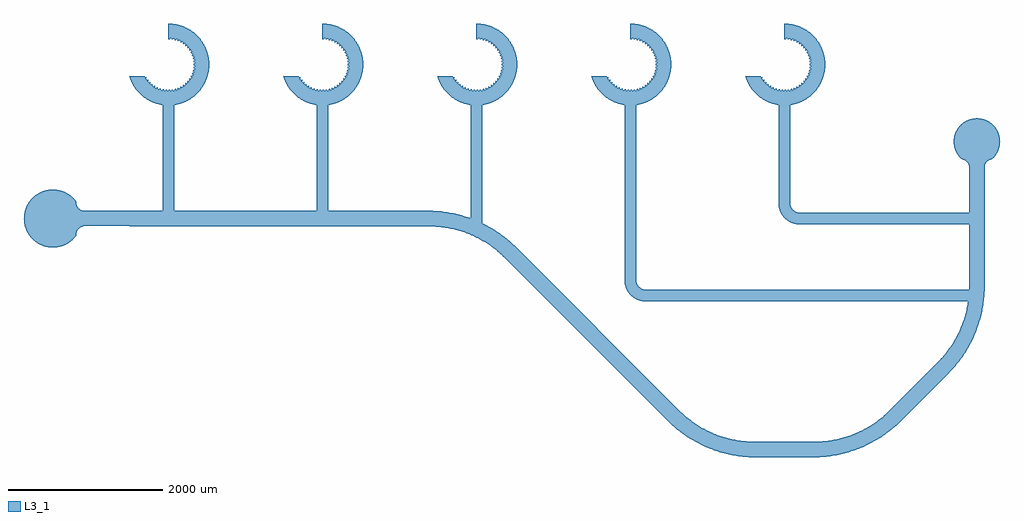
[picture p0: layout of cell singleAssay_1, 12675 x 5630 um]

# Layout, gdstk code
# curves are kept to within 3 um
from math import pi, radians
import gdstk
lib = gdstk.Library(unit=1e-6, precision=5e-09)
def R(c, l, rs):  # rectangles x0, y0, x1, y1
    for r in rs: c.add(gdstk.rectangle(r[:2], r[2:], *l))
def P(c, l, *ps):  # polygons
    for p in ps: c.add(gdstk.Polygon(p, *l))
L3_1 = (3, 1)

trace_1 = lib.new_cell('TRACE_1')
P(trace_1, L3_1, [(-11000,-1900),(-7094.005,-1900.23),(-6957.695,-1908.385),(-6822.585,-1928.13),(-6689.645,-1959.33),(-6559.85,-2001.745),(-6434.145,-2055.075),(-6289.985,-2132.925),(-6154.54,-2225.11),(-6029.235,-2330.66),(-3868.93,-4489.65),(-3762.2,-4585.995),(-3686.03,-4643.755),(-3606.095,-4696.185),(-3501.455,-4753.85),(-3414.435,-4793.43),(-3324.92,-4826.975),(-3233.325,-4854.335),(-3116.555,-4879.64),(-3021.85,-4892.655),(-2878.255,-4900),(-2097.42,-4899.79),(-1954.395,-4890.01),(-1836.485,-4870.715),(-1743.605,-4848.08),(-1630.035,-4810.965),(-1541.72,-4774.385),(-1456.1,-4731.86),(-1373.59,-4683.59),(-1275.39,-4615.525),(-1201.24,-4555.195),(-1131.07,-4489.65),(-444.805,-3798.76),(-370.195,-3705.44),(-303.815,-3606.095),(-246.15,-3501.455),(-206.57,-3414.435),(-165.6,-3302.2),(-139.81,-3210.15),(-116.5,-3092.965),(-103.265,-2974.22),(-100,-2000),(100,-2000),(100,-2879.105),(91.615,-3042.305),(76.74,-3150.535),(54.51,-3257.505),(25.035,-3362.705),(-11.55,-3465.65),(-55.075,-3565.855),(-105.34,-3662.86),(-208.79,-3823.555),(-276.28,-3909.465),(-349.475,-3990.57),(-1009.43,-4650.525),(-1111.575,-4741.14),(-1243.795,-4837.895),(-1409.575,-4932.98),(-1559.85,-4998.255),(-1742.495,-5054.51),(-1903.455,-5085.1),(-2012.13,-5096.275),(-2120.895,-5100),(-2905.995,-5099.77),(-3042.305,-5091.615),(-3150.535,-5076.74),(-3257.505,-5054.51),(-3388.67,-5016.55),(-3490.975,-4978.21),(-3590.425,-4932.98),(-3686.555,-4881.07),(-3801.37,-4807.155),(-3888.425,-4741.14),(-4009.75,-4631.675),(-6165.75,-2476.83),(-6275.39,-2384.475),(-6373.59,-2316.41),(-6498.545,-2246.15),(-6607.725,-2197.615),(-6720.645,-2158.565),(-6836.485,-2129.285),(-6954.395,-2109.99),(-7097.42,-2100.21),(-11000,-2100)])

fluidvactrapf_1 = lib.new_cell('FluidVacTrapF_1')
fluidvactrapf_1.add(gdstk.Reference(trace_1, (0,0)))

structure_1 = lib.new_cell('STRUCTURE_1')
P(structure_1, L3_1, [(306.335,-216.275),(246.02,-283.015),(176.05,-331.105),(97.055,-362.22),(13.085,-374.77),(-71.555,-368.11),(-152.525,-342.58),(-225.68,-299.49),(-287.265,-241.045),(-337.05,-164.39),(-365.39,-84.355),(-375,0),(-365.39,84.355),(-337.05,164.39),(-291.43,235.995),(-230.875,295.505),(-158.48,339.865),(-84.355,365.39),(-6.545,374.945),(71.555,368.11),(152.525,342.58),(215.09,307.18),(269.75,260.495),(306.335,216.275),(307.565,177.505),(324.1,141.22),(350.535,116.135),(384.21,102.185),(1000,100),(1000,-100),(389.355,-101.23),(352.01,-115.195),(324.1,-141.22),(307.565,-177.505)])

inlethole_1 = lib.new_cell('INLETHOLE_1')
inlethole_1.add(gdstk.Reference(structure_1, (0,0)))

structure_2 = lib.new_cell('STRUCTURE_2')
P(structure_2, L3_1, [(330,0),(530,0),(524.84,-73.76),(509.47,-146.09),(484.18,-215.57),(449.465,-280.855),(411.885,-333.54),(368.17,-381.25),(311.525,-428.78),(256.95,-463.55),(198.54,-491.405),(137.175,-511.94),(64.59,-526.05),(0,-530),(0,-330),(16.29,-329.59),(17.4,-342.285),(42.305,-340.105),(41.195,-327.41),(55.17,-325.345),(57.775,-337.825),(82.245,-332.715),(79.64,-320.245),(93.275,-316.53),(97.34,-328.615),(121.035,-320.645),(116.97,-308.565),(130.07,-303.275),(135.535,-314.79),(158.12,-304.075),(152.655,-292.555),(165.045,-285.765),(171.825,-296.545),(192.985,-283.23),(186.195,-272.44),(197.69,-264.225),(205.705,-274.13),(225.14,-258.405),(217.125,-248.5),(227.56,-238.975),(236.695,-247.87),(254.135,-229.955),(245.005,-221.07),(254.235,-210.37),(264.36,-218.12),(279.555,-198.27),(269.435,-190.525),(277.345,-178.815),(288.31,-185.31),(301.05,-163.805),(290.08,-157.305),(296.56,-144.75),(308.21,-149.9),(318.315,-127.035),(306.655,-121.88),(311.595,-108.645),(323.78,-112.38),(331.11,-88.48),(318.93,-84.745),(322.255,-71.015),(334.8,-73.285),(339.255,-48.685),(326.715,-46.415),(328.395,-32.385),(341.12,-33.155),(342.63,-8.2),(329.905,-7.435)],
  [(-508.31,150),(-472.235,240.615),(-423.275,318.96),(-361.46,387.615),(-288.66,444.495),(-207.085,487.87),(-110.195,518.42),(-18.495,529.675),(73.76,524.84),(163.78,504.06),(256.95,463.55),(333.54,411.885),(399.995,347.71),(454.3,272.97),(494.8,189.935),(521.95,92.035),(530,0),(330,0),(329.925,6.695),(342.645,7.435),(341.195,32.395),(328.465,31.65),(326.82,45.685),(339.36,47.925),(334.965,72.535),(322.415,70.295),(319.115,84.03),(331.305,87.74),(324.03,111.655),(311.84,107.945),(306.925,121.195),(318.6,126.32),(308.545,149.21),(296.88,144.085),(290.435,156.655),(301.415,163.13),(288.72,184.665),(277.74,178.195),(269.86,189.92),(280,197.645),(264.845,217.53),(254.705,209.805),(245.5,220.52),(254.645,229.385),(237.25,247.335),(228.095,238.465),(217.68,248.01),(225.72,257.9),(206.32,273.67),(198.285,263.785),(186.805,272.02),(193.62,282.795),(172.49,296.16),(165.68,285.39),(153.31,292.215),(158.8,303.72),(136.24,314.485),(130.745,302.98),(117.66,308.305),(121.75,320.375),(98.075,328.395),(93.98,316.32),(80.36,320.06),(82.99,332.53),(58.53,337.695),(55.895,325.22),(41.925,327.315),(43.065,340.01),(18.165,342.245),(17.025,329.56),(2.905,329.975),(2.535,342.72),(-22.455,341.99),(-22.085,329.255),(-36.16,328.005),(-38.035,340.61),(-62.76,336.935),(-60.885,324.325),(-74.715,321.425),(-78.065,333.72),(-102.185,327.14),(-98.83,314.84),(-112.215,310.33),(-117,322.14),(-140.175,312.755),(-135.385,300.94),(-148.145,294.865),(-154.295,306.035),(-176.19,293.97),(-170.045,282.815),(-181.99,275.265),(-189.42,285.63),(-209.735,271.06),(-202.31,260.705),(-213.28,251.805),(-221.88,261.21),(-240.33,244.34),(-231.73,234.935),(-241.58,224.805),(-251.23,233.125),(-267.555,214.19),(-257.9,205.865),(-266.48,194.64),(-277.045,201.765),(-291.015,181.03),(-280.445,173.91),(-287.63,161.745),(-298.97,167.565),(-307.99,150)])

trace_2 = lib.new_cell('TRACE_2')
R(trace_2, L3_1, [(-75,0,75,400)])

vac_4 = lib.new_cell('vac_4')
vac_4.add(gdstk.Reference(structure_2, (0,0)))
vac_4.add(gdstk.Reference(trace_2, (0,430)))

structure_3 = lib.new_cell('STRUCTURE_3')
P(structure_3, L3_1, [(330,0),(530,0),(524.84,-73.76),(509.47,-146.09),(484.18,-215.57),(449.465,-280.855),(411.885,-333.54),(368.17,-381.25),(311.525,-428.78),(256.95,-463.55),(198.54,-491.405),(137.175,-511.94),(64.59,-526.05),(0,-530),(0,-330),(16.29,-329.59),(17.4,-342.285),(42.305,-340.105),(41.195,-327.41),(55.17,-325.345),(57.775,-337.825),(82.245,-332.715),(79.64,-320.245),(93.275,-316.53),(97.34,-328.615),(121.035,-320.645),(116.97,-308.565),(130.07,-303.275),(135.535,-314.79),(158.12,-304.075),(152.655,-292.555),(165.045,-285.765),(171.825,-296.545),(192.985,-283.23),(186.195,-272.44),(197.69,-264.225),(205.705,-274.13),(225.14,-258.405),(217.125,-248.5),(227.56,-238.975),(236.695,-247.87),(254.135,-229.955),(245.005,-221.07),(254.235,-210.37),(264.36,-218.12),(279.555,-198.27),(269.435,-190.525),(277.345,-178.815),(288.31,-185.31),(301.05,-163.805),(290.08,-157.305),(296.56,-144.75),(308.21,-149.9),(318.315,-127.035),(306.655,-121.88),(311.595,-108.645),(323.78,-112.38),(331.11,-88.48),(318.93,-84.745),(322.255,-71.015),(334.8,-73.285),(339.255,-48.685),(326.715,-46.415),(328.395,-32.385),(341.12,-33.155),(342.63,-8.2),(329.905,-7.435)],
  [(-508.31,150),(-472.235,240.615),(-423.275,318.96),(-361.46,387.615),(-288.66,444.495),(-207.085,487.87),(-110.195,518.42),(-18.495,529.675),(73.76,524.84),(163.78,504.06),(256.95,463.55),(333.54,411.885),(399.995,347.71),(454.3,272.97),(494.8,189.935),(521.95,92.035),(530,0),(330,0),(329.925,6.695),(342.645,7.435),(341.195,32.395),(328.465,31.65),(326.82,45.685),(339.36,47.925),(334.965,72.535),(322.415,70.295),(319.115,84.03),(331.305,87.74),(324.03,111.655),(311.84,107.945),(306.925,121.195),(318.6,126.32),(308.545,149.21),(296.88,144.085),(290.435,156.655),(301.415,163.13),(288.72,184.665),(277.74,178.195),(269.86,189.92),(280,197.645),(264.845,217.53),(254.705,209.805),(245.5,220.52),(254.645,229.385),(237.25,247.335),(228.095,238.465),(217.68,248.01),(225.72,257.9),(206.32,273.67),(198.285,263.785),(186.805,272.02),(193.62,282.795),(172.49,296.16),(165.68,285.39),(153.31,292.215),(158.8,303.72),(136.24,314.485),(130.745,302.98),(117.66,308.305),(121.75,320.375),(98.075,328.395),(93.98,316.32),(80.36,320.06),(82.99,332.53),(58.53,337.695),(55.895,325.22),(41.925,327.315),(43.065,340.01),(18.165,342.245),(17.025,329.56),(2.905,329.975),(2.535,342.72),(-22.455,341.99),(-22.085,329.255),(-36.16,328.005),(-38.035,340.61),(-62.76,336.935),(-60.885,324.325),(-74.715,321.425),(-78.065,333.72),(-102.185,327.14),(-98.83,314.84),(-112.215,310.33),(-117,322.14),(-140.175,312.755),(-135.385,300.94),(-148.145,294.865),(-154.295,306.035),(-176.19,293.97),(-170.045,282.815),(-181.99,275.265),(-189.42,285.63),(-209.735,271.06),(-202.31,260.705),(-213.28,251.805),(-221.88,261.21),(-240.33,244.34),(-231.73,234.935),(-241.58,224.805),(-251.23,233.125),(-267.555,214.19),(-257.9,205.865),(-266.48,194.64),(-277.045,201.765),(-291.015,181.03),(-280.445,173.91),(-287.63,161.745),(-298.97,167.565),(-307.99,150)])

trace_3 = lib.new_cell('TRACE_3')
R(trace_3, L3_1, [(-75,0,75,400)])

vac_2 = lib.new_cell('vac_2')
vac_2.add(gdstk.Reference(structure_3, (0,0)))
vac_2.add(gdstk.Reference(trace_3, (0,430)))

structure_4 = lib.new_cell('STRUCTURE_4')
P(structure_4, L3_1, [(330,0),(530,0),(524.84,-73.76),(509.47,-146.09),(484.18,-215.57),(449.465,-280.855),(411.885,-333.54),(368.17,-381.25),(311.525,-428.78),(256.95,-463.55),(198.54,-491.405),(137.175,-511.94),(64.59,-526.05),(0,-530),(0,-330),(16.29,-329.59),(17.4,-342.285),(42.305,-340.105),(41.195,-327.41),(55.17,-325.345),(57.775,-337.825),(82.245,-332.715),(79.64,-320.245),(93.275,-316.53),(97.34,-328.615),(121.035,-320.645),(116.97,-308.565),(130.07,-303.275),(135.535,-314.79),(158.12,-304.075),(152.655,-292.555),(165.045,-285.765),(171.825,-296.545),(192.985,-283.23),(186.195,-272.44),(197.69,-264.225),(205.705,-274.13),(225.14,-258.405),(217.125,-248.5),(227.56,-238.975),(236.695,-247.87),(254.135,-229.955),(245.005,-221.07),(254.235,-210.37),(264.36,-218.12),(279.555,-198.27),(269.435,-190.525),(277.345,-178.815),(288.31,-185.31),(301.05,-163.805),(290.08,-157.305),(296.56,-144.75),(308.21,-149.9),(318.315,-127.035),(306.655,-121.88),(311.595,-108.645),(323.78,-112.38),(331.11,-88.48),(318.93,-84.745),(322.255,-71.015),(334.8,-73.285),(339.255,-48.685),(326.715,-46.415),(328.395,-32.385),(341.12,-33.155),(342.63,-8.2),(329.905,-7.435)],
  [(-508.31,150),(-472.235,240.615),(-423.275,318.96),(-361.46,387.615),(-288.66,444.495),(-207.085,487.87),(-110.195,518.42),(-18.495,529.675),(73.76,524.84),(163.78,504.06),(256.95,463.55),(333.54,411.885),(399.995,347.71),(454.3,272.97),(494.8,189.935),(521.95,92.035),(530,0),(330,0),(329.925,6.695),(342.645,7.435),(341.195,32.395),(328.465,31.65),(326.82,45.685),(339.36,47.925),(334.965,72.535),(322.415,70.295),(319.115,84.03),(331.305,87.74),(324.03,111.655),(311.84,107.945),(306.925,121.195),(318.6,126.32),(308.545,149.21),(296.88,144.085),(290.435,156.655),(301.415,163.13),(288.72,184.665),(277.74,178.195),(269.86,189.92),(280,197.645),(264.845,217.53),(254.705,209.805),(245.5,220.52),(254.645,229.385),(237.25,247.335),(228.095,238.465),(217.68,248.01),(225.72,257.9),(206.32,273.67),(198.285,263.785),(186.805,272.02),(193.62,282.795),(172.49,296.16),(165.68,285.39),(153.31,292.215),(158.8,303.72),(136.24,314.485),(130.745,302.98),(117.66,308.305),(121.75,320.375),(98.075,328.395),(93.98,316.32),(80.36,320.06),(82.99,332.53),(58.53,337.695),(55.895,325.22),(41.925,327.315),(43.065,340.01),(18.165,342.245),(17.025,329.56),(2.905,329.975),(2.535,342.72),(-22.455,341.99),(-22.085,329.255),(-36.16,328.005),(-38.035,340.61),(-62.76,336.935),(-60.885,324.325),(-74.715,321.425),(-78.065,333.72),(-102.185,327.14),(-98.83,314.84),(-112.215,310.33),(-117,322.14),(-140.175,312.755),(-135.385,300.94),(-148.145,294.865),(-154.295,306.035),(-176.19,293.97),(-170.045,282.815),(-181.99,275.265),(-189.42,285.63),(-209.735,271.06),(-202.31,260.705),(-213.28,251.805),(-221.88,261.21),(-240.33,244.34),(-231.73,234.935),(-241.58,224.805),(-251.23,233.125),(-267.555,214.19),(-257.9,205.865),(-266.48,194.64),(-277.045,201.765),(-291.015,181.03),(-280.445,173.91),(-287.63,161.745),(-298.97,167.565),(-307.99,150)])

trace_4 = lib.new_cell('TRACE_4')
R(trace_4, L3_1, [(-75,0,75,400)])

vac_3 = lib.new_cell('vac_3')
vac_3.add(gdstk.Reference(structure_4, (0,0)))
vac_3.add(gdstk.Reference(trace_4, (0,430)))

structure_5 = lib.new_cell('STRUCTURE_5')
P(structure_5, L3_1, [(330,0),(530,0),(524.84,-73.76),(509.47,-146.09),(484.18,-215.57),(449.465,-280.855),(411.885,-333.54),(368.17,-381.25),(311.525,-428.78),(256.95,-463.55),(198.54,-491.405),(137.175,-511.94),(64.59,-526.05),(0,-530),(0,-330),(16.29,-329.59),(17.4,-342.285),(42.305,-340.105),(41.195,-327.41),(55.17,-325.345),(57.775,-337.825),(82.245,-332.715),(79.64,-320.245),(93.275,-316.53),(97.34,-328.615),(121.035,-320.645),(116.97,-308.565),(130.07,-303.275),(135.535,-314.79),(158.12,-304.075),(152.655,-292.555),(165.045,-285.765),(171.825,-296.545),(192.985,-283.23),(186.195,-272.44),(197.69,-264.225),(205.705,-274.13),(225.14,-258.405),(217.125,-248.5),(227.56,-238.975),(236.695,-247.87),(254.135,-229.955),(245.005,-221.07),(254.235,-210.37),(264.36,-218.12),(279.555,-198.27),(269.435,-190.525),(277.345,-178.815),(288.31,-185.31),(301.05,-163.805),(290.08,-157.305),(296.56,-144.75),(308.21,-149.9),(318.315,-127.035),(306.655,-121.88),(311.595,-108.645),(323.78,-112.38),(331.11,-88.48),(318.93,-84.745),(322.255,-71.015),(334.8,-73.285),(339.255,-48.685),(326.715,-46.415),(328.395,-32.385),(341.12,-33.155),(342.63,-8.2),(329.905,-7.435)],
  [(-508.31,150),(-472.235,240.615),(-423.275,318.96),(-361.46,387.615),(-288.66,444.495),(-207.085,487.87),(-110.195,518.42),(-18.495,529.675),(73.76,524.84),(163.78,504.06),(256.95,463.55),(333.54,411.885),(399.995,347.71),(454.3,272.97),(494.8,189.935),(521.95,92.035),(530,0),(330,0),(329.925,6.695),(342.645,7.435),(341.195,32.395),(328.465,31.65),(326.82,45.685),(339.36,47.925),(334.965,72.535),(322.415,70.295),(319.115,84.03),(331.305,87.74),(324.03,111.655),(311.84,107.945),(306.925,121.195),(318.6,126.32),(308.545,149.21),(296.88,144.085),(290.435,156.655),(301.415,163.13),(288.72,184.665),(277.74,178.195),(269.86,189.92),(280,197.645),(264.845,217.53),(254.705,209.805),(245.5,220.52),(254.645,229.385),(237.25,247.335),(228.095,238.465),(217.68,248.01),(225.72,257.9),(206.32,273.67),(198.285,263.785),(186.805,272.02),(193.62,282.795),(172.49,296.16),(165.68,285.39),(153.31,292.215),(158.8,303.72),(136.24,314.485),(130.745,302.98),(117.66,308.305),(121.75,320.375),(98.075,328.395),(93.98,316.32),(80.36,320.06),(82.99,332.53),(58.53,337.695),(55.895,325.22),(41.925,327.315),(43.065,340.01),(18.165,342.245),(17.025,329.56),(2.905,329.975),(2.535,342.72),(-22.455,341.99),(-22.085,329.255),(-36.16,328.005),(-38.035,340.61),(-62.76,336.935),(-60.885,324.325),(-74.715,321.425),(-78.065,333.72),(-102.185,327.14),(-98.83,314.84),(-112.215,310.33),(-117,322.14),(-140.175,312.755),(-135.385,300.94),(-148.145,294.865),(-154.295,306.035),(-176.19,293.97),(-170.045,282.815),(-181.99,275.265),(-189.42,285.63),(-209.735,271.06),(-202.31,260.705),(-213.28,251.805),(-221.88,261.21),(-240.33,244.34),(-231.73,234.935),(-241.58,224.805),(-251.23,233.125),(-267.555,214.19),(-257.9,205.865),(-266.48,194.64),(-277.045,201.765),(-291.015,181.03),(-280.445,173.91),(-287.63,161.745),(-298.97,167.565),(-307.99,150)])

trace_5 = lib.new_cell('TRACE_5')
R(trace_5, L3_1, [(-75,0,75,400)])

vac_0 = lib.new_cell('vac_0')
vac_0.add(gdstk.Reference(structure_5, (0,0)))
vac_0.add(gdstk.Reference(trace_5, (0,430)))

structure_6 = lib.new_cell('STRUCTURE_6')
P(structure_6, L3_1, [(330,0),(530,0),(524.84,-73.76),(509.47,-146.09),(484.18,-215.57),(449.465,-280.855),(411.885,-333.54),(368.17,-381.25),(311.525,-428.78),(256.95,-463.55),(198.54,-491.405),(137.175,-511.94),(64.59,-526.05),(0,-530),(0,-330),(16.29,-329.59),(17.4,-342.285),(42.305,-340.105),(41.195,-327.41),(55.17,-325.345),(57.775,-337.825),(82.245,-332.715),(79.64,-320.245),(93.275,-316.53),(97.34,-328.615),(121.035,-320.645),(116.97,-308.565),(130.07,-303.275),(135.535,-314.79),(158.12,-304.075),(152.655,-292.555),(165.045,-285.765),(171.825,-296.545),(192.985,-283.23),(186.195,-272.44),(197.69,-264.225),(205.705,-274.13),(225.14,-258.405),(217.125,-248.5),(227.56,-238.975),(236.695,-247.87),(254.135,-229.955),(245.005,-221.07),(254.235,-210.37),(264.36,-218.12),(279.555,-198.27),(269.435,-190.525),(277.345,-178.815),(288.31,-185.31),(301.05,-163.805),(290.08,-157.305),(296.56,-144.75),(308.21,-149.9),(318.315,-127.035),(306.655,-121.88),(311.595,-108.645),(323.78,-112.38),(331.11,-88.48),(318.93,-84.745),(322.255,-71.015),(334.8,-73.285),(339.255,-48.685),(326.715,-46.415),(328.395,-32.385),(341.12,-33.155),(342.63,-8.2),(329.905,-7.435)],
  [(-508.31,150),(-472.235,240.615),(-423.275,318.96),(-361.46,387.615),(-288.66,444.495),(-207.085,487.87),(-110.195,518.42),(-18.495,529.675),(73.76,524.84),(163.78,504.06),(256.95,463.55),(333.54,411.885),(399.995,347.71),(454.3,272.97),(494.8,189.935),(521.95,92.035),(530,0),(330,0),(329.925,6.695),(342.645,7.435),(341.195,32.395),(328.465,31.65),(326.82,45.685),(339.36,47.925),(334.965,72.535),(322.415,70.295),(319.115,84.03),(331.305,87.74),(324.03,111.655),(311.84,107.945),(306.925,121.195),(318.6,126.32),(308.545,149.21),(296.88,144.085),(290.435,156.655),(301.415,163.13),(288.72,184.665),(277.74,178.195),(269.86,189.92),(280,197.645),(264.845,217.53),(254.705,209.805),(245.5,220.52),(254.645,229.385),(237.25,247.335),(228.095,238.465),(217.68,248.01),(225.72,257.9),(206.32,273.67),(198.285,263.785),(186.805,272.02),(193.62,282.795),(172.49,296.16),(165.68,285.39),(153.31,292.215),(158.8,303.72),(136.24,314.485),(130.745,302.98),(117.66,308.305),(121.75,320.375),(98.075,328.395),(93.98,316.32),(80.36,320.06),(82.99,332.53),(58.53,337.695),(55.895,325.22),(41.925,327.315),(43.065,340.01),(18.165,342.245),(17.025,329.56),(2.905,329.975),(2.535,342.72),(-22.455,341.99),(-22.085,329.255),(-36.16,328.005),(-38.035,340.61),(-62.76,336.935),(-60.885,324.325),(-74.715,321.425),(-78.065,333.72),(-102.185,327.14),(-98.83,314.84),(-112.215,310.33),(-117,322.14),(-140.175,312.755),(-135.385,300.94),(-148.145,294.865),(-154.295,306.035),(-176.19,293.97),(-170.045,282.815),(-181.99,275.265),(-189.42,285.63),(-209.735,271.06),(-202.31,260.705),(-213.28,251.805),(-221.88,261.21),(-240.33,244.34),(-231.73,234.935),(-241.58,224.805),(-251.23,233.125),(-267.555,214.19),(-257.9,205.865),(-266.48,194.64),(-277.045,201.765),(-291.015,181.03),(-280.445,173.91),(-287.63,161.745),(-298.97,167.565),(-307.99,150)])

trace_6 = lib.new_cell('TRACE_6')
R(trace_6, L3_1, [(-75,0,75,400)])

vac_1 = lib.new_cell('vac_1')
vac_1.add(gdstk.Reference(structure_6, (0,0)))
vac_1.add(gdstk.Reference(trace_6, (0,430)))

pcell_5 = lib.new_cell('PCELL_5')
pcell_5.add(gdstk.Reference(vac_4, (8000,0), x_reflection=True))
pcell_5.add(gdstk.Reference(vac_2, (4000,0), x_reflection=True))
pcell_5.add(gdstk.Reference(vac_3, (6000,0), x_reflection=True))
pcell_5.add(gdstk.Reference(vac_0, (0,0), x_reflection=True))
pcell_5.add(gdstk.Reference(vac_1, (2000,0), x_reflection=True))

structure_7 = lib.new_cell('STRUCTURE_7')
P(structure_7, L3_1, [(230.305,-192.24),(180.545,-239.59),(122.02,-274.065),(57.245,-294.49),(-10.47,-299.815),(-77.645,-289.78),(-140.84,-264.885),(-196.82,-226.415),(-242.705,-176.335),(-276.15,-117.22),(-295.44,-52.095),(-299.59,15.7),(-288.38,82.69),(-262.385,145.445),(-222.945,200.74),(-172.075,245.745),(-107.51,280.075),(-52.095,295.44),(5.235,299.955),(62.375,293.445),(117.22,276.15),(172.075,245.745),(215.8,208.4),(230.305,192.24),(243.395,150),(263.085,125.685),(286.165,110.12),(314.355,101.23),(1000,100),(1000,-100),(317.815,-100.745),(284.6,-110.9),(258.065,-130.535),(238.645,-159.325)])

inlethole_2 = lib.new_cell('INLETHOLE_2')
inlethole_2.add(gdstk.Reference(structure_7, (0,0)))

singleassay_1_link1 = lib.new_cell('singleAssay_1_link1')
R(singleassay_1_link1, L3_1, [(-10575,-2000,-10425,-830)])

singleassay_1_link2 = lib.new_cell('singleAssay_1_link2')
R(singleassay_1_link2, L3_1, [(-8575,-2000,-8425,-830)])

singleassay_1_link3 = lib.new_cell('singleAssay_1_link3')
R(singleassay_1_link3, L3_1, [(-6575,-2100,-6425,-830)])

singleassay_1_link4 = lib.new_cell('singleAssay_1_link4')
P(singleassay_1_link4, L3_1, [(-4425,-830),(-4424.925,-2804.315),(-4419.655,-2836.155),(-4405.26,-2867.415),(-4382.89,-2893.56),(-4356.17,-2911.665),(-4327.815,-2921.865),(-4299.675,-2925),(0,-2925),(0,-3075),(-4300.325,-3075),(-4361.195,-3068.11),(-4423.58,-3045.675),(-4485.885,-3002.665),(-4534.105,-2944.295),(-4564.58,-2874.99),(-4575,-2800.325),(-4575,-830)])

singleassay_1_link5 = lib.new_cell('singleAssay_1_link5')
P(singleassay_1_link5, L3_1, [(-2425,-830),(-2424.7,-1808.625),(-2418.335,-1840.265),(-2405.26,-1867.415),(-2384.49,-1892.115),(-2358.09,-1910.68),(-2329.915,-1921.365),(-2299.675,-1925),(0,-1925),(0,-2075),(-2304.745,-2074.96),(-2365.81,-2067.01),(-2423.58,-2045.675),(-2485.885,-2002.665),(-2534.105,-1944.295),(-2564.58,-1874.99),(-2575,-1800.325),(-2575,-830)])

singleassay_1 = lib.new_cell('singleAssay_1')
singleassay_1.add(gdstk.Reference(fluidvactrapf_1, (0,0)))
singleassay_1.add(gdstk.Reference(inlethole_1, (-12000,-2000)))
singleassay_1.add(gdstk.Reference(pcell_5, (-10500,0)))
singleassay_1.add(gdstk.Reference(inlethole_2, (0,-1000), rotation=3*pi/2))
singleassay_1.add(gdstk.Reference(singleassay_1_link1, (0,0)))
singleassay_1.add(gdstk.Reference(singleassay_1_link2, (0,0)))
singleassay_1.add(gdstk.Reference(singleassay_1_link3, (0,0)))
singleassay_1.add(gdstk.Reference(singleassay_1_link4, (0,0)))
singleassay_1.add(gdstk.Reference(singleassay_1_link5, (0,0)))

lib.write_gds('singleAssay_1.gds')
